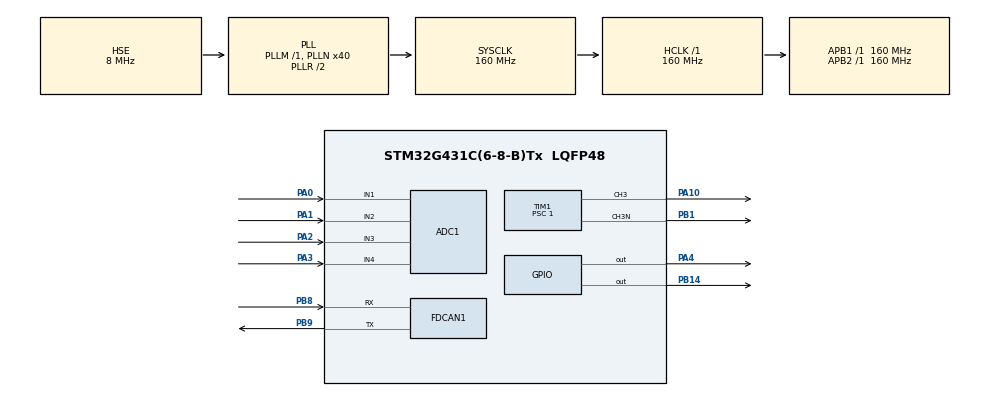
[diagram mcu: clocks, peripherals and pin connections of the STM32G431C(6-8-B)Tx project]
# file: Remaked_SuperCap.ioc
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ADC1.Channel-0\#ChannelRegularConversion=ADC_CHANNEL_1
ADC1.Channel-1\#ChannelRegularConversion=ADC_CHANNEL_2
ADC1.Channel-2\#ChannelRegularConversion=ADC_CHANNEL_3
ADC1.Channel-3\#ChannelRegularConversion=ADC_CHANNEL_4
ADC1.Channel-4\#ChannelRegularConversion=ADC_CHANNEL_4
ADC1.ContinuousConvMode=DISABLE
ADC1.DMAContinuousRequests=ENABLE
ADC1.EOCSelection=ADC_EOC_SINGLE_CONV
ADC1.ExternalTrigConv=ADC_EXTERNALTRIG_T1_TRGO
ADC1.NbrOfConversion=5
ADC1.NbrOfConversionFlag=1
ADC1.OffsetNumber-0\#ChannelRegularConversion=ADC_OFFSET_NONE
ADC1.OffsetNumber-1\#ChannelRegularConversion=ADC_OFFSET_NONE
ADC1.OffsetNumber-2\#ChannelRegularConversion=ADC_OFFSET_NONE
ADC1.OffsetNumber-3\#ChannelRegularConversion=ADC_OFFSET_NONE
ADC1.OffsetNumber-4\#ChannelRegularConversion=ADC_OFFSET_NONE
ADC1.Overrun=ADC_OVR_DATA_OVERWRITTEN
ADC1.Rank-0\#ChannelRegularConversion=1
ADC1.Rank-1\#ChannelRegularConversion=2
ADC1.Rank-2\#ChannelRegularConversion=3
ADC1.Rank-3\#ChannelRegularConversion=4
ADC1.Rank-4\#ChannelRegularConversion=5
ADC1.SamplingTime-0\#ChannelRegularConversion=ADC_SAMPLETIME_6CYCLES_5
ADC1.SamplingTime-1\#ChannelRegularConversion=ADC_SAMPLETIME_6CYCLES_5
ADC1.SamplingTime-2\#ChannelRegularConversion=ADC_SAMPLETIME_6CYCLES_5
ADC1.SamplingTime-3\#ChannelRegularConversion=ADC_SAMPLETIME_6CYCLES_5
ADC1.SamplingTime-4\#ChannelRegularConversion=ADC_SAMPLETIME_6CYCLES_5
ADC1.master=1
Dma.ADC1.0.Direction=DMA_PERIPH_TO_MEMORY
Dma.ADC1.0.EventEnable=DISABLE
Dma.ADC1.0.Instance=DMA1_Channel1
Dma.ADC1.0.MemDataAlignment=DMA_MDATAALIGN_HALFWORD
Dma.ADC1.0.MemInc=DMA_MINC_ENABLE
Dma.ADC1.0.Mode=DMA_CIRCULAR
Dma.ADC1.0.PeriphDataAlignment=DMA_PDATAALIGN_HALFWORD
Dma.ADC1.0.PeriphInc=DMA_PINC_DISABLE
Dma.ADC1.0.Polarity=HAL_DMAMUX_REQ_GEN_RISING
Dma.ADC1.0.Priority=DMA_PRIORITY_HIGH
Dma.ADC1.0.RequestNumber=1
Dma.ADC1.0.SignalID=NONE
Dma.ADC1.0.SyncEnable=DISABLE
Dma.ADC1.0.SyncPolarity=HAL_DMAMUX_SYNC_NO_EVENT
Dma.ADC1.0.SyncRequestNumber=1
Dma.ADC1.0.SyncSignalID=NONE
Dma.Request0=ADC1
FDCAN1.CalculateBaudRateNominal=1000000
FDCAN1.CalculateTimeBitNominal=1000
FDCAN1.CalculateTimeQuantumNominal=31.25
FDCAN1.ClockDivider=FDCAN_CLOCK_DIV1
FDCAN1.NominalPrescaler=5
FDCAN1.NominalTimeSeg1=24
FDCAN1.NominalTimeSeg2=7
FDCAN1.StdFiltersNbr=1
Mcu.Family=STM32G4
Mcu.Name=STM32G431C(6-8-B)Tx
Mcu.Package=LQFP48
NVIC.ADC1_2_IRQn=true\:0\:0\:true\:false\:true\:true\:true\:true
NVIC.DMA1_Channel1_IRQn=true\:0\:0\:false\:false\:true\:false\:true\:true
NVIC.FDCAN1_IT0_IRQn=true\:2\:0\:true\:false\:true\:true\:true\:true
NVIC.FDCAN1_IT1_IRQn=true\:2\:0\:true\:false\:true\:true\:true\:true
NVIC.PriorityGroup=NVIC_PRIORITYGROUP_4
NVIC.TIM1_UP_TIM16_IRQn=true\:0\:0\:true\:false\:true\:true\:true\:true
NVIC.TIM2_IRQn=true\:1\:0\:true\:false\:true\:true\:true\:true
PA0.Mode=IN1-Single-Ended
PA0.Signal=ADC1_IN1
PA1.Mode=IN2-Single-Ended
PA1.Signal=ADC1_IN2
PA10.Signal=S_TIM1_CH3
PA13.Mode=Serial_Wire
PA13.Signal=SYS_JTMS-SWDIO
PA14.Mode=Serial_Wire
PA14.Signal=SYS_JTCK-SWCLK
PA2.Mode=IN3-Single-Ended
PA2.Signal=ADC1_IN3
PA3.Mode=IN4-Single-Ended
PA3.Signal=ADC1_IN4
PA4.Signal=GPIO_Output
PB1.Mode=PWM Generation3 CH3 CH3N
PB1.Signal=TIM1_CH3N
PB14.Signal=GPIO_Output
PB8-BOOT0.Mode=FDCAN_Activate
PB8-BOOT0.Signal=FDCAN1_RX
PB9.Mode=FDCAN_Activate
PB9.Signal=FDCAN1_TX
PF0-OSC_IN.Mode=HSE-External-Oscillator
PF0-OSC_IN.Signal=RCC_OSC_IN
PF1-OSC_OUT.Mode=HSE-External-Oscillator
PF1-OSC_OUT.Signal=RCC_OSC_OUT
ProjectManager.HeapSize=0x200
ProjectManager.StackSize=0x400
ProjectManager.TargetToolchain=STM32CubeIDE
RCC.ADC12Freq_Value=160000000
RCC.AHBFreq_Value=160000000
RCC.APB1Freq_Value=160000000
RCC.APB1TimFreq_Value=160000000
RCC.APB2Freq_Value=160000000
RCC.APB2TimFreq_Value=160000000
RCC.CortexFreq_Value=160000000
RCC.EXTERNAL_CLOCK_VALUE=12288000
RCC.HCLKFreq_Value=160000000
RCC.HSE_VALUE=8000000
RCC.HSI48_VALUE=48000000
RCC.HSI_VALUE=16000000
RCC.LSE_VALUE=32768
RCC.PLLN=40
RCC.PLLSourceVirtual=RCC_PLLSOURCE_HSE
RCC.SYSCLKFreq_VALUE=160000000
RCC.SYSCLKSource=RCC_SYSCLKSOURCE_PLLCLK
RCC.USBFreq_Value=160000000
RCC.VCOOutputFreq_Value=320000000
SH.S_TIM1_CH3.0=TIM1_CH3,PWM Generation3 CH3 CH3N
TIM1.AutoReloadPreload=TIM_AUTORELOAD_PRELOAD_ENABLE
TIM1.Channel-PWM\ Generation3\ CH3\ CH3N=TIM_CHANNEL_3
TIM1.CounterMode=TIM_COUNTERMODE_UP
TIM1.DeadTime=8
TIM1.DeadTimePreload=ENABLE
TIM1.OffStateIDLEMode=TIM_OSSI_ENABLE
TIM1.PeriodNoDither=399
TIM1.Prescaler=1
TIM1.PulseNoDither_3=0
TIM1.RepetitionCounter=0
TIM1.TIM_MasterOutputTrigger=TIM_TRGO_UPDATE
TIM2.PeriodNoDither=200-1
TIM2.Prescaler=1600-1
TIM2.TIM_MasterOutputTrigger=TIM_TRGO_UPDATE
VP_SYS_VS_DBSignals.Mode=DisableDeadBatterySignals
VP_TIM2_VS_ClockSourceINT.Mode=Internal
board=custom

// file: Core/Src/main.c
/* USER CODE BEGIN Header */
/**
  ******************************************************************************
  * @file           : main.c
  * @brief          : 主程序入口与外设启动。
  ******************************************************************************
  * @attention
  *
  * Copyright (c) 2026 STMicroelectronics.
  * All rights reserved.
  *
  * This software is licensed under terms that can be found in the LICENSE file
  * in the root directory of this software component.
  * If no LICENSE file comes with this software, it is provided AS-IS.
  *
  ******************************************************************************
  */
/* USER CODE END Header */
#include "main.h"
#include "adc.h"
#include "dma.h"
#include "fdcan.h"
#include "tim.h"
#include "gpio.h"

/* USER CODE BEGIN Includes */
#include "pid_controller.h"
#include "supercap_control.h"
#include "adc_reader.h"
/* USER CODE END Includes */

/* USER CODE BEGIN PV */
/*
 * 所有系统状态和 PI 控制器实例已迁移至：
 *   - sc_state   （supercap_control.h / supercap_control.c）
 *   - adc_reader （adc_reader.h / adc_reader.c）
 *
 * main.c 中不再保留任何裸全局变量。
 */
/* USER CODE END PV */

void SystemClock_Config(void);

int main(void)
{

  /* MCU Configuration--------------------------------------------------------*/

  /* Reset of all peripherals, Initializes the Flash interface and the Systick. */
  HAL_Init();

  /* Configure the system clock */
  SystemClock_Config();

  /* Initialize all configured peripherals */
  MX_GPIO_Init();
  MX_DMA_Init();
  MX_FDCAN1_Init();
  MX_ADC1_Init();
  MX_TIM1_Init();
  MX_TIM2_Init();
  /* USER CODE BEGIN 2 */

  /* ---- 初始化超级电容控制系统 ---- */
  // 首次写入supercap_reference
  SC_Init(&sc_state);

  // 初始化之后进入self_test阶段
  /* ---- 确保初始化期间输出处于禁用状态 ---- */
  // 使用掩码修改MOE
  TIM1->BDTR &= ~TIM_BDTR_MOE;
  HAL_GPIO_WritePin(CapDownCtrl_GPIO_Port, CapDownCtrl_Pin, GPIO_PIN_RESET);

  /* ---- 启动 FDCAN（CAN 总线通信） ---- */
  /* 下行命令缓存须在接收中断使能前清零。 */
  CAN_Command_Init();
  /* 全局过滤只在 READY 状态有效，必须先配置过滤再启动。 */
  FDCAN_Filter_Init();
  if (HAL_FDCAN_Start(&hfdcan1) != HAL_OK)
  {
    Error_Handler();
  }
  /* 接收通知只在这里启用一次。 */
  if (HAL_FDCAN_ActivateNotification(&hfdcan1, FDCAN_IT_RX_FIFO0_NEW_MESSAGE, 0) != HAL_OK)
  {
    Error_Handler();
  }

  /* 只使能通道，保持 MOE=0；HAL 的 PWM_Start 会立即打开 MOE。 */
  __HAL_TIM_SET_COMPARE(&htim1, TIM_CHANNEL_3, 0);
  TIM1->CCER |= TIM_CCER_CC3E | TIM_CCER_CC3NE;
  /* 先启动 ADC DMA，再开放 100 kHz 控制中断，避免自检误判采样离线。 */
  ADC_Reader_Init(&hadc1);
  ADC_Reader_Start(&hadc1);
  if (HAL_TIM_Base_Start_IT(&htim1) != HAL_OK)
  {
    Error_Handler();
  }

  // 按照mian依次执行确保上电控制时序正确

  // HAL_TIM_PWM_Start(&htim1, TIM_CHANNEL_3
  HAL_TIM_Base_Start_IT(&htim2);
  HAL_TIM_Base_Start(&htim2);

  /* USER CODE END 2 */

  /* Infinite loop */
  /* USER CODE BEGIN WHILE */
  while (1)
  {
    /* CAN 接收由 FDCAN 中断完成，下行命令在 TIM1 控制周期取走并应用；
     * 主循环不再写入 power_reference。 */
    /* USER CODE END WHILE */

  }
}

void SystemClock_Config(void)
{
  RCC_OscInitTypeDef RCC_OscInitStruct = {0};
  RCC_ClkInitTypeDef RCC_ClkInitStruct = {0};

  /** Configure the main internal regulator output voltage
  */
  HAL_PWREx_ControlVoltageScaling(PWR_REGULATOR_VOLTAGE_SCALE1_BOOST);

  /** Initializes the RCC Oscillators according to the specified parameters
  * in the RCC_OscInitTypeDef structure.
  */
  RCC_OscInitStruct.OscillatorType = RCC_OSCILLATORTYPE_HSE;
  RCC_OscInitStruct.HSEState = RCC_HSE_ON;
  RCC_OscInitStruct.PLL.PLLState = RCC_PLL_ON;
  RCC_OscInitStruct.PLL.PLLSource = RCC_PLLSOURCE_HSE;
  RCC_OscInitStruct.PLL.PLLM = RCC_PLLM_DIV1;
  RCC_OscInitStruct.PLL.PLLN = 40;
  RCC_OscInitStruct.PLL.PLLP = RCC_PLLP_DIV2;
  RCC_OscInitStruct.PLL.PLLQ = RCC_PLLQ_DIV2;
  RCC_OscInitStruct.PLL.PLLR = RCC_PLLR_DIV2;
  if (HAL_RCC_OscConfig(&RCC_OscInitStruct) != HAL_OK)
  {
    Error_Handler();
  }

  /** Initializes the CPU, AHB and APB buses clocks
  */
  RCC_ClkInitStruct.ClockType = RCC_CLOCKTYPE_HCLK|RCC_CLOCKTYPE_SYSCLK
                              |RCC_CLOCKTYPE_PCLK1|RCC_CLOCKTYPE_PCLK2;
  RCC_ClkInitStruct.SYSCLKSource = RCC_SYSCLKSOURCE_PLLCLK;
  RCC_ClkInitStruct.AHBCLKDivider = RCC_SYSCLK_DIV1;
  RCC_ClkInitStruct.APB1CLKDivider = RCC_HCLK_DIV1;
  RCC_ClkInitStruct.APB2CLKDivider = RCC_HCLK_DIV1;

  if (HAL_RCC_ClockConfig(&RCC_ClkInitStruct, FLASH_LATENCY_4) != HAL_OK)
  {
    Error_Handler();
  }
}

/* USER CODE BEGIN 4 */
/*
 * 所有业务逻辑函数已迁移至：
 *   - pid_controller.c    （PID_Calculate、PID_Init、PID_Reset 等）
 *   - supercap_control.c  （SC_ADC_ConvertToPhysical 电压电流检测、
 *                          SC_CalculatePower 功率计算、
 *                          SC_RunProtection 保护检测、
 *                          SC_Step 状态机与电流闭环、
 *                          SC_HandleFault 故障处理）
 *   - adc_reader.c        （ADC_Reader_Init、ADC_Reader_Start、ADC_Reader_GetLatest）
 *
 * SC_LIMIT() 工具函数为 supercap_control.h 中的静态内联函数。
 */
/* USER CODE END 4 */

void Error_Handler(void)
{
  /* USER CODE BEGIN Error_Handler_Debug */
  __disable_irq();
  if (__HAL_RCC_TIM1_IS_CLK_ENABLED()) {
    TIM1->BDTR &= ~TIM_BDTR_MOE;
  }
  if (__HAL_RCC_GPIOA_IS_CLK_ENABLED()) {
    HAL_GPIO_WritePin(CapDownCtrl_GPIO_Port, CapDownCtrl_Pin, GPIO_PIN_RESET);
  }
  while (1)
  {
  }
  /* USER CODE END Error_Handler_Debug */
}
#ifdef USE_FULL_ASSERT
/**
  * @brief  Reports the name of the source file and the source line number
  *         where the assert_param error has occurred.
  * @param  file: pointer to the source file name
  * @param  line: assert_param error line source number
  * @retval None
  */
void assert_failed(uint8_t *file, uint32_t line)
{
  /* USER CODE BEGIN 6 */
  /* 可在此添加断言错误记录或调试输出。 */
  /* USER CODE END 6 */
}
#endif /* USE_FULL_ASSERT */
